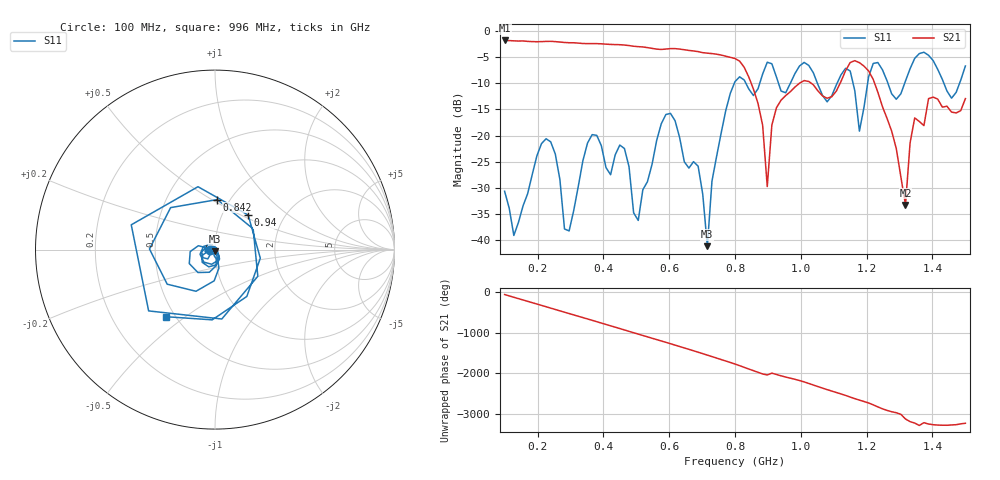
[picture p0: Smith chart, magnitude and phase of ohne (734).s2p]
! NanoVNA-App
! Date: 2025-09-25 14:26:31
! Start: 100MHz Stop: 1,5GHz Points: 101
! S-Parameter data: F S11 S21 S12 S22
# Hz S RI R 50
!  Frequency  S11_Real  S11_Imag  S21_Real  S21_Imag  S12_Real  S12_Imag  S22_Real  S22_Imag
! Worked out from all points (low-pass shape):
!   101 points, 100 MHz to 1.5 GHz, reference 50 ohm
!   highest |S21| = -1.79 dB at 100 MHz (marker M1); lowest = -33.3 dB at 1.318 GHz (marker M2)
!   |S21| within 3 dB of the highest: start of sweep to 771.1 MHz
!   lowest |S11| = -41.1 dB at 716 MHz (marker M3), VSWR 1.02, Z = 49.8 - j0.842 ohm
!   |S11| at or under -10 dB: start of sweep to 797.9 MHz; 833.2 MHz to 875.1 MHz (41.9 MHz wide, 4.91 % of centre); 1.05 GHz to 1.11 GHz (59.62 MHz wide, 5.52 % of centre) (the widest 3 of 7)
!   S12 and S22 are empty: the file has one direction only
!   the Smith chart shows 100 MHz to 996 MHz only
!   S11 on the Smith chart (normalised r, x): 100 MHz: 0.94, -0.01; 842 MHz: 0.88, +0.53; 940 MHz: 1.32, +0.55; 996 MHz: 0.45, -0.42
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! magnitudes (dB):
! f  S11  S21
! 100 MHz  -30.6  -1.8
! 128 MHz  -39.1  -1.9
! 226 MHz  -20.6  -2.0
! 296 MHz  -38.2  -2.2
! 338 MHz  -24.7  -2.4
! 464 MHz  -22.5  -2.7
! 506 MHz  -36.2  -3.0
! 576 MHz  -17.7  -3.5
! 688 MHz  -25.8  -3.9
! 716 MHz  -41.1  -4.2
! 800 MHz  -9.7  -5.2
! 842 MHz  -11.1  -8.8
! 898 MHz  -6.0  -29.7
! 940 MHz  -11.5  -13.2
! 996 MHz  -6.7  -10.0
! 1.038 GHz  -8.0  -10.3
! 1.178 GHz  -19.1  -6.0
! 1.22 GHz  -6.2  -9.3
! 1.276 GHz  -12.0  -19.1
! 1.318 GHz  -9.5  -33.3
! 1.346 GHz  -5.2  -16.6
! 1.5 GHz  -6.7  -12.9
